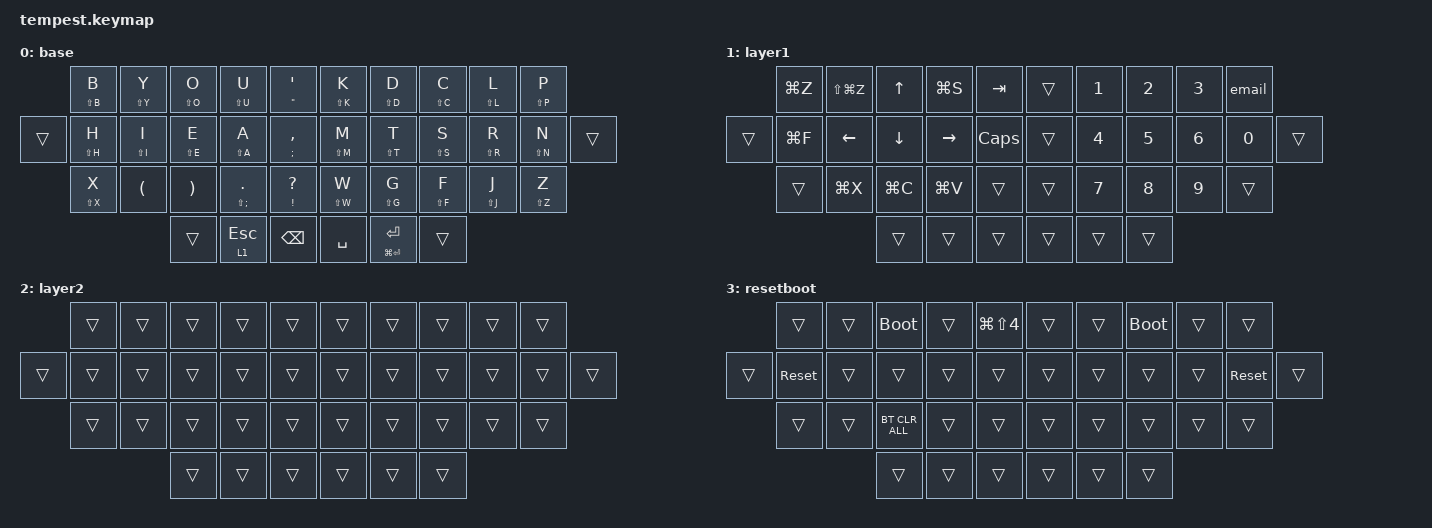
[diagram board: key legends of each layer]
/*
 * Copyright (c) 2020 The ZMK Contributors
 *
 * SPDX-License-Identifier: MIT
 */

#define ZMK_POINTING_DEFAULT_MOVE_VAL 1000  // default: 600
#define ZMK_POINTING_DEFAULT_SCRL_VAL 20    // default: 10

#include <behaviors.dtsi>
#include <dt-bindings/zmk/bt.h>
#include <dt-bindings/zmk/keys.h>

/*       0   1   2   3   4      ||    5   6   7   8   9 */
/* {10}  11  12  13  14  15     ||    16  17  18  19  20  {21} */
/*       22  23  24  25  26     ||    27  28  29  30  31 */
/*                   32 33 34   ||  35 36 37 */

&mt { flavor = "tap-preferred"; };

/ {
    combos {
        compatible = "zmk,combos";

        /* combos on base layer, left side, for boot shortcuts like BIOS with half the keyboard plugged in */

        Vv {
            bindings = <&mt LS(V) V>;
            key-positions = <6 7>;
            layers = <0>;
        };

        Qq {
            bindings = <&mt LS(Q) Q>;
            key-positions = <7 8>;
            layers = <0>;
        };

        left1 {
            bindings = <&kp PLUS>;
            key-positions = <4 3>;
            layers = <0 1>;
        };

        left2 {
            bindings = <&kp MINUS>;
            key-positions = <15 14>;
            layers = <0 1>;
        };

        left3 {
            bindings = <&kp SLASH>;
            key-positions = <26 25>;
            layers = <0 1>;
        };

        right1 {
            bindings = <&kp ASTERISK>;
            key-positions = <5 6>;
            layers = <0 1>;
        };

        right2 {
            bindings = <&none>;
            key-positions = <16 17>;
            layers = <0 1>;
        };

        right3 {
            bindings = <&none>;
            key-positions = <27 28>;
            layers = <0 1>;
        };

        resetboot {
            bindings = <&mo 3>;
            key-positions = <34 33>;
            layers = <0>;
        };
    };

    macros {
        email: email {
            compatible = "zmk,behavior-macro";
            #binding-cells = <0>;
            bindings = <&kp LS(NUMBER_2) &kp P &kp R &kp O &kp T &kp O &kp N &kp M &kp A &kp I &kp L &kp DOT &kp C &kp O &kp M>;
            label = "EMAIL";
        };
    };

    keymap {
        compatible = "zmk,keymap";

        base {
            bindings = <
        &mt LS(B) B  &mt LS(Y) Y           &mt LS(O) O            &mt LS(U) U          &mt DOUBLE_QUOTES SINGLE_QUOTE  &mt LS(K) K  &mt LS(D) D          &mt LS(C) C  &mt LS(L) L  &mt LS(P) P
&trans  &mt LS(H) H  &mt LS(I) I           &mt LS(E) E            &mt LS(A) A          &mt SEMI COMMA                  &mt LS(M) M  &mt LS(T) T          &mt LS(S) S  &mt LS(R) R  &mt LS(N) N  &trans
        &mt LS(X) X  &kp LEFT_PARENTHESIS  &kp RIGHT_PARENTHESIS  &mt LS(SEMI) PERIOD  &mt EXCLAMATION QUESTION        &mt LS(W) W  &mt LS(G) G          &mt LS(F) F  &mt LS(J) J  &mt LS(Z) Z
                                           &trans                 &lt 1 ESCAPE         &kp BACKSPACE                   &kp SPACE    &mt LG(ENTER) ENTER  &trans
            >;
        };

        layer1 {
            bindings = <
        &kp LG(Z)  &kp LS(LG(Z))  &kp UP     &kp LG(S)  &kp TAB       &trans  &kp N1  &kp N2  &kp N3  &email
&trans  &kp LG(F)  &kp LEFT       &kp DOWN   &kp RIGHT  &kp CAPSLOCK  &trans  &kp N4  &kp N5  &kp N6  &kp N0  &trans
        &trans     &kp LG(X)      &kp LG(C)  &kp LG(V)  &trans        &trans  &kp N7  &kp N8  &kp N9  &trans
                                  &trans     &trans     &trans        &trans  &trans  &trans
            >;
        };

        layer2 {
            bindings = <
        &trans  &trans  &trans  &trans  &trans  &trans  &trans  &trans  &trans  &trans
&trans  &trans  &trans  &trans  &trans  &trans  &trans  &trans  &trans  &trans  &trans  &trans
        &trans  &trans  &trans  &trans  &trans  &trans  &trans  &trans  &trans  &trans
                        &trans  &trans  &trans  &trans  &trans  &trans
            >;
        };

        resetboot {
            bindings = <
        &trans      &trans  &bootloader     &trans  &kp LG(LS(NUMBER_4))  &trans  &trans  &bootloader  &trans  &trans
&trans  &sys_reset  &trans  &trans          &trans  &trans                &trans  &trans  &trans       &trans  &sys_reset  &trans
        &trans      &trans  &bt BT_CLR_ALL  &trans  &trans                &trans  &trans  &trans       &trans  &trans
                            &trans          &trans  &trans                &trans  &trans  &trans
            >;
        };
    };

    conditional_layers { compatible = "zmk,conditional-layers"; };
};
